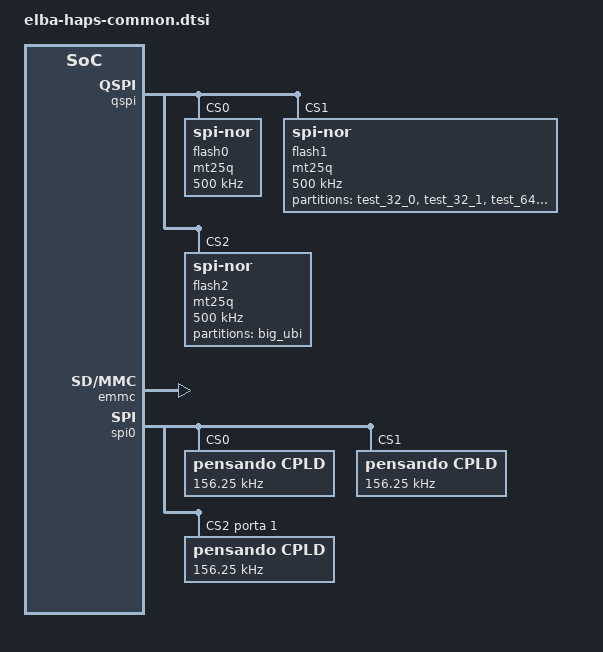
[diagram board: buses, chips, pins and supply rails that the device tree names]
// SPDX-License-Identifier: GPL-2.0

&ahb_clk {
	clock-frequency = <2080000>;
};

&emmc_clk {
	clock-frequency = <208000000>;
};

&flash_clk {
	clock-frequency = <2000000>;
};

&ref_clk {
	clock-frequency = <9216000>; /* fake so UART 115200 works at 19200 */
};

&qspi {
	status = "okay";
	flash0: mt25q@0 {
		compatible = "jedec,spi-nor";
		reg = <0>;
		spi-max-frequency = <500000>;
		spi-rx-bus-width = <4>;
		m25p,fast-read;
		cdns,read-delay = <0>;
		cdns,tshsl-ns = <0>;
		cdns,tsd2d-ns = <0>;
		cdns,tchsh-ns = <0>;
		cdns,tslch-ns = <0>;
	};

	flash1: mt25q@1 {
		compatible = "jedec,spi-nor";
		reg = <1>;
		spi-max-frequency = <500000>;
		spi-rx-bus-width = <4>;
		m25p,fast-read;
		cdns,read-delay = <0>;
		cdns,tshsl-ns = <0>;
		cdns,tsd2d-ns = <0>;
		cdns,tchsh-ns = <0>;
		cdns,tslch-ns = <0>;
		partitions {
			compatible = "fixed-partitions";
			#address-cells = <1>;
			#size-cells = <1>;

			/* Some test partitions */
			partition@0 {
				label = "test_32_0";
				reg = <0x0 0x2000000>;
			};

			partition@2000000 {
				label = "test_32_1";
				reg = <0x2000000 0x2000000>;
			};

			partition@4000000 {
				label = "test_64";
				reg = <0x4000000 0x4000000>;
			};

			partition@8000000 {
				label = "test_128";
				reg = <0x8000000 0x8000000>;
			};
		};
	};

	flash2: mt25q@2 {
		compatible = "jedec,spi-nor";
		reg = <2>;
		spi-max-frequency = <500000>;
		spi-rx-bus-width = <4>;
		m25p,fast-read;
		cdns,read-delay = <0>;
		cdns,tshsl-ns = <0>;
		cdns,tsd2d-ns = <0>;
		cdns,tchsh-ns = <0>;
		cdns,tslch-ns = <0>;
		partitions {
			compatible = "fixed-partitions";
			#address-cells = <1>;
			#size-cells = <1>;
			partition@0 {
				label = "big_ubi";
				reg = <0x0 0x10000000>;
			};
		};
	};
};

&gpio0 {
	status = "ok";
};

&emmc {
	status = "ok";
};

&spi0 {
	num-cs = <3>;
	cs-gpios = <0>, <0>, <&porta 1 0>;
	status = "okay";
	cpld@0 {
		compatible = "pensando,cpld";
		#address-cells = <1>;
		#size-cells = <1>;
		spi-max-frequency = <156250>;
		reg = <0>;
	};

	cpld@1 {
		compatible = "pensando,cpld";
		#address-cells = <1>;
		#size-cells = <1>;
		spi-max-frequency = <156250>;
		reg = <1>;
	};

	cpld@2 {
		compatible = "pensando,cpld";
		#address-cells = <1>;
		#size-cells = <1>;
		spi-max-frequency = <156250>;
		reg = <2>;
	};
};
